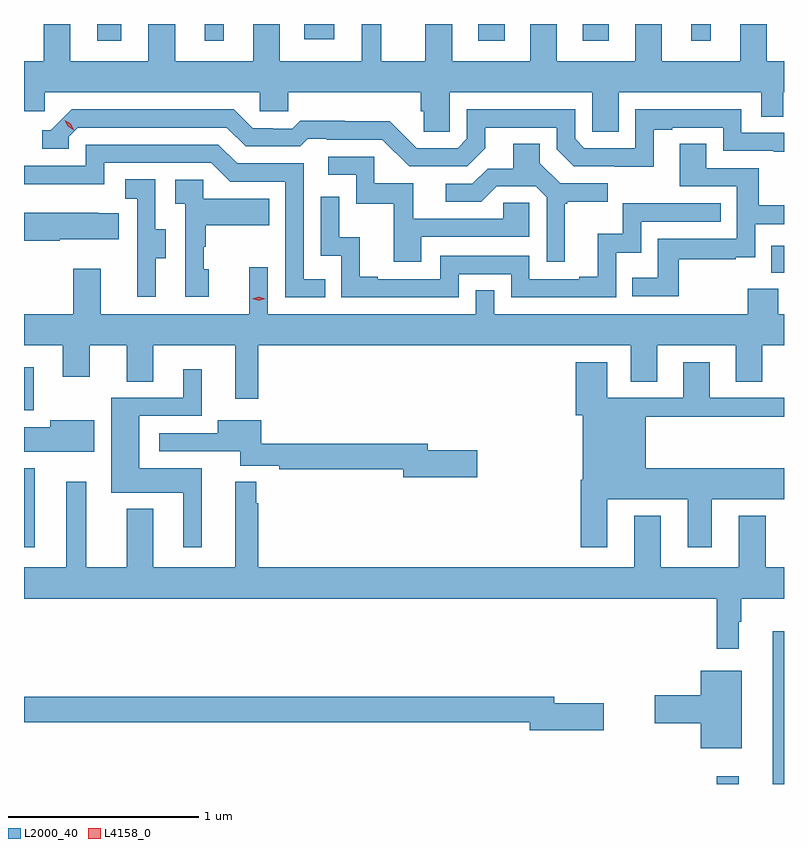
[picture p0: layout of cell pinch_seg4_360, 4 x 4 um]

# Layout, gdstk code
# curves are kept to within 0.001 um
import gdstk
lib = gdstk.Library(unit=1e-6, precision=1e-09)
def R(c, l, rs):  # rectangles x0, y0, x1, y1
    for r in rs: c.add(gdstk.rectangle(r[:2], r[2:], *l))
def P(c, l, *ps):  # polygons
    for p in ps: c.add(gdstk.Polygon(p, *l))
L2000_40 = (2000, 40)
L4158_0 = (4158, 0)

pinch_seg4_360 = lib.new_cell('pinch_seg4_360')
R(pinch_seg4_360, L2000_40, [(966.859,793.18,966.977,793.222), (967.154,793.18,967.214,793.984), (963.214,794.427,963.271,794.842), (963.214,795.147,963.265,795.373), (967.147,795.872,967.214,796.012), (963.599,797.091,963.727,797.18), (964.166,797.091,964.264,797.18), (965.606,797.091,965.743,797.18), (966.155,797.091,966.292,797.18), (966.725,797.091,966.829,797.18), (964.688,797.099,964.846,797.18)])
P(pinch_seg4_360, L2000_40, [(964.455,796.722),(964.605,796.722),(964.605,796.82),(965.303,796.82),(965.303,796.722),(965.317,796.722),(965.317,796.612),(965.454,796.612),(965.454,796.82),(966.204,796.82),(966.204,796.612),(966.343,796.612),(966.343,796.82),(967.095,796.82),(967.095,796.693),(967.211,796.693),(967.211,796.82),(967.214,796.82),(967.214,796.984),(967.123,796.984),(967.123,797.18),(966.983,797.18),(966.983,796.984),(966.571,796.984),(966.571,797.18),(966.431,797.18),(966.431,796.984),(966.019,796.984),(966.019,797.18),(965.879,797.18),(965.879,796.984),(965.467,796.984),(965.467,797.18),(965.327,797.18),(965.327,796.984),(965.095,796.984),(965.095,797.18),(964.991,797.18),(964.991,796.984),(964.561,796.984),(964.561,797.18),(964.421,797.18),(964.421,796.984),(964.009,796.984),(964.009,797.18),(963.869,797.18),(963.869,796.984),(963.457,796.984),(963.457,797.18),(963.317,797.18),(963.317,796.984),(963.214,796.984),(963.214,796.722),(963.324,796.722),(963.324,796.82),(964.455,796.82)],
  [(966.529,796.623),(966.625,796.623),(966.625,796.635),(966.894,796.635),(966.894,796.512),(967.159,796.512),(967.159,796.507),(967.214,796.507),(967.214,796.608),(966.99,796.608),(966.99,796.731),(966.432,796.731),(966.432,796.527),(966.162,796.527),(966.114,796.575),(966.114,796.731),(965.544,796.731),(965.544,796.575),(965.496,796.527),(965.28,796.527),(965.138,796.669),(964.902,796.669),(964.902,796.672),(964.669,796.672),(964.627,796.629),(964.524,796.629),(964.524,796.632),(964.417,796.632),(964.318,796.731),(963.465,796.731),(963.354,796.62),(963.311,796.62),(963.311,796.524),(963.45,796.524),(963.45,796.587),(963.498,796.635),(964.281,796.635),(964.38,796.536),(964.669,796.536),(964.708,796.575),(964.807,796.575),(964.807,796.572),(965.1,796.572),(965.241,796.431),(965.547,796.431),(965.641,796.525),(965.641,796.635),(966.018,796.635),(966.018,796.521),(966.108,796.431),(966.529,796.43)],
  [(966.661,795.942),(966.959,795.942),(966.959,795.953),(967.062,795.953),(967.062,796.125),(967.214,796.125),(967.214,796.226),(967.082,796.226),(967.082,796.422),(966.805,796.422),(966.805,796.55),(966.665,796.55),(966.665,796.326),(966.966,796.326),(966.966,796.05),(966.55,796.05),(966.55,795.844),(966.415,795.844),(966.415,795.747),(966.661,795.747)],
  [(966.061,796.233),(966.073,796.233),(966.073,796.244),(966.286,796.244),(966.286,796.341),(966.036,796.341),(965.929,796.448),(965.929,796.55),(965.789,796.55),(965.789,796.418),(965.654,796.418),(965.574,796.338),(965.433,796.338),(965.433,796.245),(965.62,796.245),(965.701,796.326),(965.907,796.326),(965.964,796.269),(965.964,795.93),(966.061,795.93)],
  [(964.799,795.837),(964.686,795.837),(964.686,796.446),(964.336,796.446),(964.237,796.545),(963.54,796.545),(963.54,796.434),(963.214,796.434),(963.214,796.337),(963.636,796.337),(963.636,796.449),(964.2,796.449),(964.299,796.35),(964.59,796.35),(964.59,795.741),(964.799,795.741)],
  [(965.305,796.059),(965.874,796.059),(965.874,796.239),(965.737,796.239),(965.737,796.155),(965.263,796.155),(965.263,796.341),(965.058,796.341),(965.058,796.482),(964.815,796.482),(964.815,796.386),(964.962,796.386),(964.962,796.233),(965.161,796.233),(965.161,795.93),(965.305,795.93)],
  [(963.907,795.946),(963.961,795.946),(963.961,796.101),(963.906,796.101),(963.906,796.364),(963.747,796.364),(963.747,796.261),(963.81,796.261),(963.81,795.957),(963.809,795.957),(963.809,795.744),(963.907,795.744)],
  [(964.186,795.888),(964.161,795.888),(964.161,796.007),(964.171,796.007),(964.171,796.121),(964.505,796.121),(964.505,796.261),(964.158,796.261),(964.158,796.359),(964.011,796.359),(964.011,796.235),(964.062,796.235),(964.062,795.744),(964.186,795.744)],
  [(965.502,795.864),(965.778,795.864),(965.778,795.741),(966.33,795.741),(966.33,795.977),(966.462,795.977),(966.462,796.14),(966.881,796.14),(966.881,796.236),(966.366,796.236),(966.366,796.075),(966.233,796.075),(966.233,795.85),(966.137,795.85),(966.137,795.837),(965.874,795.837),(965.874,795.96),(965.406,795.96),(965.406,795.837),(965.077,795.837),(965.077,795.85),(964.982,795.85),(964.982,796.058),(964.872,796.058),(964.872,796.27),(964.776,796.27),(964.776,795.96),(964.884,795.96),(964.884,795.741),(965.502,795.741)],
  [(963.403,796.046),(963.713,796.046),(963.713,796.183),(963.605,796.183),(963.605,796.186),(963.214,796.186),(963.214,796.039),(963.403,796.039)],
  [(964.447,795.488),(966.407,795.488),(966.407,795.298),(966.547,795.298),(966.547,795.488),(966.959,795.488),(966.959,795.298),(967.099,795.298),(967.099,795.488),(967.214,795.488),(967.214,795.652),(967.184,795.652),(967.184,795.787),(967.024,795.787),(967.024,795.652),(965.688,795.652),(965.688,795.779),(965.592,795.779),(965.592,795.652),(964.497,795.652),(964.497,795.901),(964.4,795.901),(964.4,795.652),(963.619,795.652),(963.619,795.892),(963.472,795.892),(963.472,795.652),(963.214,795.652),(963.214,795.488),(963.419,795.488),(963.419,795.324),(963.559,795.324),(963.559,795.488),(963.755,795.488),(963.755,795.298),(963.895,795.298),(963.895,795.488),(964.325,795.488),(964.325,795.207),(964.447,795.207)],
  [(966.283,794.678),(966.707,794.678),(966.707,794.427),(966.835,794.427),(966.835,794.678),(967.214,794.678),(967.214,794.842),(966.487,794.842),(966.487,795.112),(967.214,795.112),(967.214,795.213),(966.823,795.213),(966.823,795.4),(966.683,795.4),(966.683,795.213),(966.283,795.213),(966.283,795.4),(966.119,795.4),(966.119,795.12),(966.155,795.12),(966.155,794.782),(966.143,794.782),(966.143,794.427),(966.283,794.427)],
  [(964.15,794.842),(963.82,794.842),(963.82,795.117),(964.15,795.117),(964.15,795.364),(964.052,795.364),(964.052,795.213),(963.674,795.213),(963.674,794.714),(964.052,794.714),(964.052,794.427),(964.15,794.427)],
  [(965.599,794.936),(965.338,794.936),(965.338,794.972),(964.462,794.972),(964.462,795.094),(964.235,795.094),(964.235,795.027),(963.927,795.027),(963.927,794.931),(964.352,794.931),(964.352,794.856),(964.558,794.856),(964.558,794.836),(965.21,794.836),(965.21,794.794),(965.599,794.794)],
  [(963.583,795.094),(963.353,795.094),(963.353,795.058),(963.214,795.058),(963.214,794.93),(963.583,794.93)],
  [(966.976,794.033),(966.988,794.033),(966.988,794.156),(967.214,794.156),(967.214,794.32),(967.117,794.32),(967.117,794.593),(966.977,794.593),(966.977,794.32),(966.565,794.32),(966.565,794.593),(966.425,794.593),(966.425,794.32),(964.447,794.32),(964.447,794.657),(964.436,794.657),(964.436,794.77),(964.325,794.77),(964.325,794.32),(963.895,794.32),(963.895,794.629),(963.755,794.629),(963.755,794.32),(963.541,794.32),(963.541,794.77),(963.437,794.77),(963.437,794.32),(963.214,794.32),(963.214,794.156),(966.859,794.156),(966.859,793.893),(966.976,793.893)],
  [(966.991,793.777),(966.776,793.777),(966.776,793.646),(966.534,793.646),(966.534,793.499),(966.776,793.499),(966.776,793.367),(966.991,793.367)],
  [(966.265,793.604),(966.004,793.604),(966.004,793.64),(963.214,793.64),(963.214,793.504),(965.876,793.504),(965.876,793.462),(966.265,793.462)])
P(pinch_seg4_360, L4158_0, [(964.45,795.724),(964.415,795.734),(964.414,795.734),(964.415,795.734),(964.45,795.744),(964.485,795.734),(964.485,795.734),(964.485,795.733)],
  [(963.475,796.622),(963.444,796.642),(963.428,796.674),(963.428,796.674),(963.429,796.674),(963.459,796.655),(963.475,796.623),(963.475,796.622)])

lib.write_gds('pinch_seg4_360.gds')
